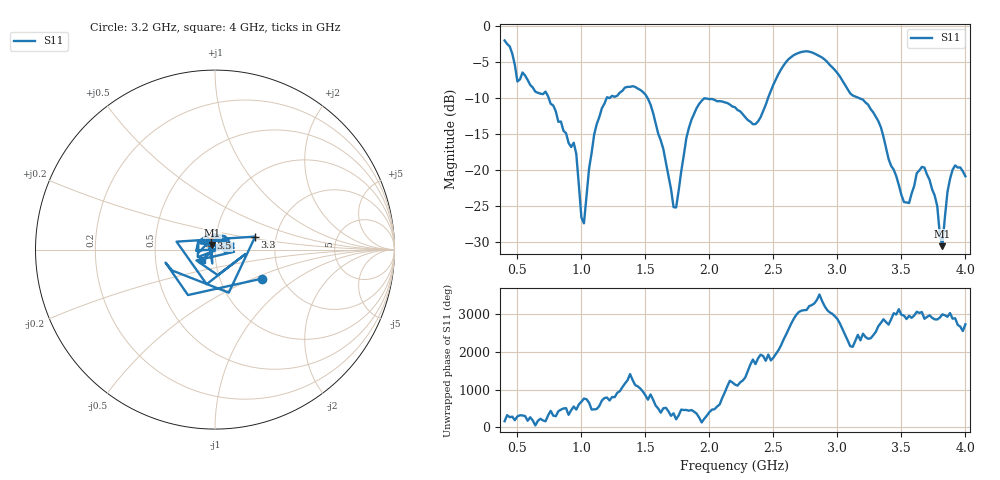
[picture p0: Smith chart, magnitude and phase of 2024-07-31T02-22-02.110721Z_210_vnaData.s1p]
!Created with skrf (http://scikit-rf.org).
# Hz S RI R 50.0
!freq ReS11 ImS11
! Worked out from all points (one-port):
!   181 points, 400 MHz to 4 GHz, reference 50 ohm
!   lowest |S11| = -30.5 dB at 3.82 GHz (marker M1), VSWR 1.06, Z = 48.4 + j2.44 ohm
!   |S11| at or under -10 dB: 744.7 MHz to 1.197 GHz (452.4 MHz wide, 46.6 % of centre); 1.517 GHz to 2.458 GHz (940.8 MHz wide, 47.3 % of centre); 3.17 GHz to end of sweep
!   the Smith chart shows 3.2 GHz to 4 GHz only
!   S11 on the Smith chart (normalised r, x): 3.2 GHz: 1.59, -0.57; 3.3 GHz: 1.55, +0.24; 3.5 GHz: 0.95, +0.12; 4 GHz: 0.86, -0.10
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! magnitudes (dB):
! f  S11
! 400 MHz  -2.0
! 500 MHz  -7.7
! 720 MHz  -9.1
! 860 MHz  -14.5
! 960 MHz  -17.8
! 1 GHz  -26.6
! 1.02 GHz  -27.4
! 1.12 GHz  -13.6
! 1.3 GHz  -9.2
! 1.52 GHz  -10.1
! 1.72 GHz  -25.1
! 1.76 GHz  -22.8
! 1.82 GHz  -15.5
! 1.92 GHz  -10.8
! 2.2 GHz  -11.3
! 2.36 GHz  -13.6
! 2.66 GHz  -4.0
! 2.88 GHz  -4.4
! 3.1 GHz  -9.3
! 3.2 GHz  -10.2
! 3.3 GHz  -12.6
! 3.5 GHz  -23.4
! 3.56 GHz  -24.5
! 3.68 GHz  -19.6
! 3.78 GHz  -25.0
! 3.82 GHz  -30.5
! 3.9 GHz  -19.9
! 4 GHz  -20.8
